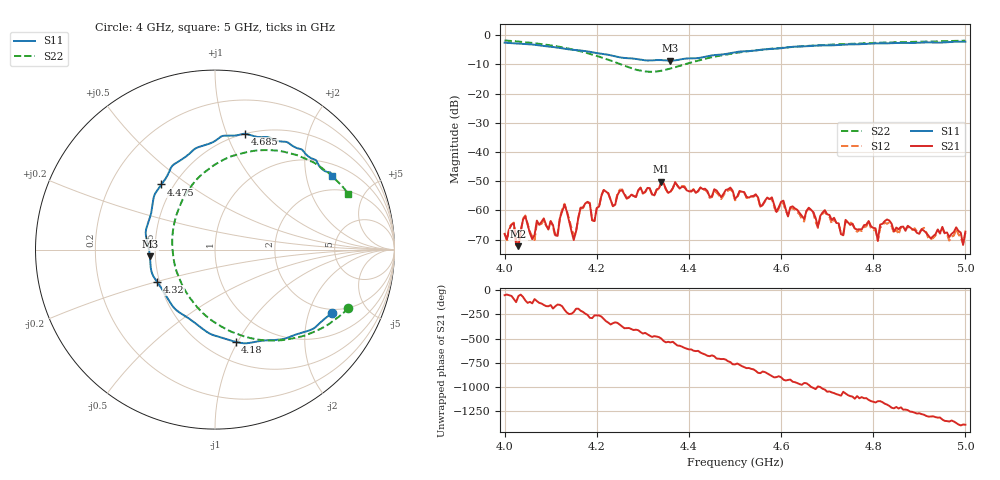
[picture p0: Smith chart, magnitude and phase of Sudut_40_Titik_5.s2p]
# Hz S RI R 50
! CMT, C1220, 16058040, 17.2.0/1
! Date: 15/08/2018 12:18:34
! Data: Format (Calibration Info)
! Freq  S11: Re/Im (F2)  S21: Re/Im (F2)  S12: Re/Im (F2)  S22: Re/Im (F2)
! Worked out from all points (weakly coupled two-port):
!   201 points, 4 GHz to 5 GHz, reference 50 ohm
!   highest |S21| = -50.19 dB at 4.34 GHz (marker M1); lowest = -72.2 dB at 4.03 GHz (marker M2)
!   lowest |S11| = -8.8 dB at 4.36 GHz (marker M3), VSWR 2.15, Z = 23.3 - j2.05 ohm
!   |S11| at or under -10 dB: nowhere
!   |S22| runs from -12.6 to -1.8 dB; largest |S21 - S12| = 0.00017
!   S11 on the Smith chart (normalised r, x): 4 GHz: 1.83, -2.88; 4.18 GHz: 0.69, -0.98; 4.32 GHz: 0.48, -0.20; 4.475 GHz: 0.43, +0.40; 4.685 GHz: 0.50, +1.17; 5 GHz: 1.42, +2.86
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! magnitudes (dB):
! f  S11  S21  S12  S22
! 4 GHz  -2.6  -68.0  -68.0  -1.8
! 4.02 GHz  -2.8  -64.4  -64.2  -2.1
! 4.03 GHz  -2.9  -72.2  -71.3  -2.2
! 4.045 GHz  -3.0  -62.1  -61.7  -2.4
! 4.11 GHz  -4.2  -68.5  -69.0  -3.8
! 4.13 GHz  -4.6  -58.1  -57.7  -4.3
! 4.15 GHz  -5.0  -70.1  -68.5  -5.0
! 4.17 GHz  -5.4  -59.0  -59.2  -5.7
! 4.18 GHz  -5.6  -57.1  -57.2  -6.2
! 4.195 GHz  -6.0  -63.6  -63.6  -6.9
! 4.215 GHz  -6.5  -53.0  -53.0  -7.9
! 4.32 GHz  -8.7  -54.5  -54.6  -12.6
! 4.335 GHz  -8.5  -52.4  -52.9  -12.3
! 4.34 GHz  -8.5  -50.2  -50.5  -12.2
! 4.36 GHz  -8.8  -53.6  -53.7  -11.4
! 4.475 GHz  -6.6  -54.4  -54.9  -6.8
! 4.5 GHz  -5.9  -56.1  -56.5  -6.1
! 4.67 GHz  -3.7  -60.6  -60.8  -3.6
! 4.685 GHz  -3.5  -61.9  -62.5  -3.4
! 4.81 GHz  -2.8  -70.4  -70.4  -2.6
! 4.835 GHz  -2.8  -63.5  -64.1  -2.5
! 5 GHz  -2.3  -67.3  -67.7  -1.9
